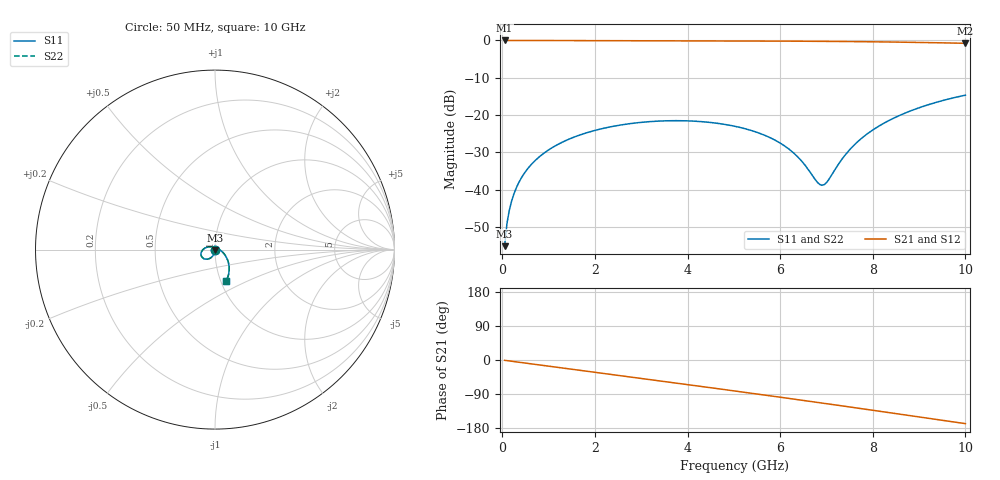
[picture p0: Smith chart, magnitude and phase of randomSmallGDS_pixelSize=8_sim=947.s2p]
! freq	dB(S11)	phase(S11)	dB(S12)	phase(S12)
!  dB(S21)	phase(S21)	dB(S22)	phase(S22)
!S-par simulation data
#  GHz  S  DB  R 50
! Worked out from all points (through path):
!   200 points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, 50 MHz to 10 GHz, reference 50 ohm
!   highest |S21| = 0.00 dB at 50 MHz (marker M1); lowest = -0.8 dB at 10 GHz (marker M2)
!   group delay of S21, straight-line fit = 46.5 ps
!   lowest |S11| = -55.2 dB at 50 MHz (marker M3), VSWR 1.00, Z = 50 - j0.174 ohm
!   |S11| at or under -10 dB: start of sweep to end of sweep
!   |S22| runs from -55.2 to -14.7 dB; largest |S21 - S12| = 0
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0.05  -55.17 -90.4  -0.00 -0.8  -0.00 -0.8  -55.17 -90.4
0.1  -49.15 -91.6  -0.00 -1.7  -0.00 -1.7  -49.15 -91.6
0.2  -43.13 -93.6  -0.01 -3.3  -0.01 -3.3  -43.13 -93.6
0.35  -38.27 -96.4  -0.01 -5.7  -0.01 -5.7  -38.27 -96.4
0.5  -35.19 -99.0  -0.01 -8.1  -0.01 -8.1  -35.19 -99.0
1  -29.35 -107.4  -0.02 -16.3  -0.02 -16.3  -29.35 -107.4
1.75  -25.04 -119.9  -0.04 -28.4  -0.04 -28.4  -25.04 -119.9
2.5  -22.79 -132.4  -0.06 -40.5  -0.06 -40.5  -22.79 -132.4
3.4  -21.61 -147.5  -0.09 -55.1  -0.09 -55.1  -21.61 -147.5
4.25  -21.73 -162.3  -0.12 -69.0  -0.12 -69.0  -21.73 -162.4
5.05  -23.10 -177.4  -0.14 -82.2  -0.14 -82.2  -23.09 -177.5
5.6  -25.10 170.7  -0.16 -91.4  -0.16 -91.4  -25.10 170.5
6.05  -27.91 158.4  -0.18 -99.0  -0.18 -99.0  -27.90 158.1
6.4  -31.48 143.5  -0.20 -104.9  -0.20 -104.9  -31.46 143.0
6.7  -36.28 115.6  -0.22 -110.1  -0.22 -110.1  -36.18 114.8
6.85  -38.59 85.1  -0.23 -112.7  -0.23 -112.7  -38.39 84.7
6.95  -38.68 58.3  -0.24 -114.4  -0.24 -114.4  -38.47 58.4
7.35  -31.58 -1.9  -0.28 -121.3  -0.28 -121.3  -31.52 -1.3
7.6  -28.02 -15.2  -0.31 -125.7  -0.31 -125.7  -27.99 -14.7
8.35  -21.47 -37.2  -0.41 -138.8  -0.41 -138.8  -21.46 -36.9
9.1  -17.63 -53.1  -0.55 -152.0  -0.55 -152.0  -17.62 -52.9
10  -14.68 -70.1  -0.76 -167.9  -0.76 -167.9  -14.67 -69.9
